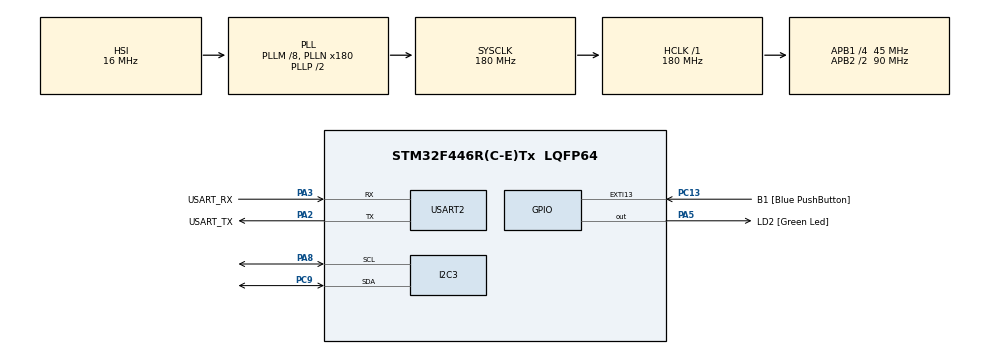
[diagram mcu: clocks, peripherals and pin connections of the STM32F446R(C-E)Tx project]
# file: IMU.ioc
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Mcu.Family=STM32F4
Mcu.Name=STM32F446R(C-E)Tx
Mcu.Package=LQFP64
NVIC.PriorityGroup=NVIC_PRIORITYGROUP_0
PA13.GPIO_Label=TMS
PA13.Mode=Serial_Wire
PA13.Signal=SYS_JTMS-SWDIO
PA14.GPIO_Label=TCK
PA14.Mode=Serial_Wire
PA14.Signal=SYS_JTCK-SWCLK
PA2.GPIO_Label=USART_TX
PA2.Mode=Asynchronous
PA2.Signal=USART2_TX
PA3.GPIO_Label=USART_RX
PA3.Mode=Asynchronous
PA3.Signal=USART2_RX
PA5.GPIO_Label=LD2 [Green Led]
PA5.Signal=GPIO_Output
PA8.Mode=I2C
PA8.Signal=I2C3_SCL
PB3.GPIO_Label=SWO
PB3.Signal=SYS_JTDO-SWO
PC13.GPIO_Label=B1 [Blue PushButton]
PC13.GPIO_ModeDefaultEXTI=GPIO_MODE_IT_FALLING
PC13.Signal=GPXTI13
PC14-OSC32_IN.Mode=LSE-External-Oscillator
PC14-OSC32_IN.Signal=RCC_OSC32_IN
PC15-OSC32_OUT.Mode=LSE-External-Oscillator
PC15-OSC32_OUT.Signal=RCC_OSC32_OUT
PC9.Mode=I2C
PC9.Signal=I2C3_SDA
PH0-OSC_IN.Mode=HSE-External-Oscillator
PH0-OSC_IN.Signal=RCC_OSC_IN
PH1-OSC_OUT.Mode=HSE-External-Oscillator
PH1-OSC_OUT.Signal=RCC_OSC_OUT
ProjectManager.HeapSize=0x200
ProjectManager.StackSize=0x400
ProjectManager.TargetToolchain=STM32CubeIDE
RCC.48MHZClocksFreq_Value=84000000
RCC.AHBFreq_Value=180000000
RCC.APB1CLKDivider=RCC_HCLK_DIV4
RCC.APB1Freq_Value=45000000
RCC.APB1TimFreq_Value=90000000
RCC.APB2CLKDivider=RCC_HCLK_DIV2
RCC.APB2Freq_Value=90000000
RCC.APB2TimFreq_Value=180000000
RCC.CortexFreq_Value=180000000
RCC.FLatency-AdvancedSettings=FLASH_LATENCY_5
RCC.HCLKFreq_Value=180000000
RCC.HSE_VALUE=8000000
RCC.HSI_VALUE=16000000
RCC.PLLM=8
RCC.PLLN=180
RCC.SYSCLKFreq_VALUE=180000000
RCC.SYSCLKSource=RCC_SYSCLKSOURCE_PLLCLK
RCC.USBFreq_Value=180000000
RCC.VCOOutputFreq_Value=360000000
USART2.VirtualMode=VM_ASYNC
board=NUCLEO-F446RE

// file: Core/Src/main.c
/* USER CODE BEGIN Header */
/**
  ******************************************************************************
  * @file           : main.c
  * @brief          : Main program body
  ******************************************************************************
  * @attention
  *
  * Copyright (c) 2023 STMicroelectronics.
  * All rights reserved.
  *
  * This software is licensed under terms that can be found in the LICENSE file
  * in the root directory of this software component.
  * If no LICENSE file comes with this software, it is provided AS-IS.
  *
  ******************************************************************************
  */
/* USER CODE END Header */
#include "main.h"
#include "IMU.h"
#include <string.h>
#include <stdio.h>

I2C_HandleTypeDef hi2c3;

UART_HandleTypeDef huart2;

/* USER CODE BEGIN PV */
// IMU address
uint16_t IMU_address = 214;
uint8_t IMU_Data_Ready;

/* USER CODE END PV */

void SystemClock_Config(void);
static void MX_GPIO_Init(void);
static void MX_USART2_UART_Init(void);
static void MX_I2C3_Init(void);

int main(void)
{
  /* USER CODE BEGIN 1 */
	uint8_t buf[20];
	buf[0] = 1;
	buf[1] = 12;
	uint8_t buff[3];
	uint8_t  OUTX_L_XL;
	uint8_t  OUTX_H_XL;
	uint8_t  OUTY_L_XL;
	uint8_t  OUTY_H_XL;
	uint8_t  OUTZ_L_XL;
	uint8_t  OUTZ_H_XL;

	uint8_t  OUTX_L_G;
	uint8_t  OUTX_H_G;
	uint8_t  OUTY_L_G;
	uint8_t  OUTY_H_G;
	uint8_t  OUTZ_L_G;
	uint8_t  OUTZ_H_G;

	uint8_t IMU_Data_Ready;
	uint8_t XL_Mode = 0x60;
	uint8_t G_Mode =  0xA0;
	uint8_t XL_IT = 0x01;

	uint16_t XL_X;
	uint16_t XL_Y;
	uint16_t XL_Z;

	uint16_t G_X;
	uint16_t G_Y;
	uint16_t G_Z;
  /* USER CODE END 1 */

  /* MCU Configuration--------------------------------------------------------*/

  /* Reset of all peripherals, Initializes the Flash interface and the Systick. */
  HAL_Init();

  /* Configure the system clock */
  SystemClock_Config();

  /* Initialize all configured peripherals */
  MX_GPIO_Init();
  MX_USART2_UART_Init();
  MX_I2C3_Init();

  /* Infinite loop */
  while (1)
  {

    /* USER CODE BEGIN 3 */
	  IMU_init();
//	  HAL_I2C_Mem_Write  ( &hi2c3 ,IMU_address, 0x10, 1, &XL_Mode, 1, 10000); // 0x10 = CTRL1_XL
//	  	  HAL_I2C_Mem_Write  ( &hi2c3 ,IMU_address, 0x0D, 1, &XL_IT, 1, 10000); // INT1_CTRL (0Dh)
//	  	  //HAL_Delay(10);
//	  	  //HAL_I2C_Mem_Read  ( &hi2c3 ,IMU_address, 0x10, 1, buf[1], 1, 10000);
	  	  HAL_I2C_Mem_Read  ( &hi2c3 ,IMU_address, 0x0D, 1, buf, 1, 10000);
	  	  HAL_I2C_Mem_Read  ( &hi2c3 ,IMU_address, 0x1E, 1, &IMU_Data_Ready, 1, 10000); //STATUS_REG (1Eh)

	  	  if((IMU_Data_Ready & 0x01) == 1){
	  		  HAL_I2C_Mem_Read  ( &hi2c3 ,IMU_address, 0x28, 1, &OUTX_L_XL, 1, 10000); // OUTX_L_XL (28h)
	  		  HAL_I2C_Mem_Read  ( &hi2c3 ,IMU_address, 0x29, 1, &OUTX_H_XL, 1, 10000); // OUTX_H_XL (29h)
	  		  HAL_I2C_Mem_Read  ( &hi2c3 ,IMU_address, 0x2A, 1, &OUTY_L_XL, 1, 10000); // OUTY_L_XL (2Ah)
	  		  HAL_I2C_Mem_Read  ( &hi2c3 ,IMU_address, 0x2B, 1, &OUTY_H_XL, 1, 10000); // OUTY_H_XL (2Bh)
	  		  HAL_I2C_Mem_Read  ( &hi2c3 ,IMU_address, 0x2C, 1, &OUTZ_L_XL, 1, 10000); // OUTZ_L_XL (2Ch)
	  		  HAL_I2C_Mem_Read  ( &hi2c3 ,IMU_address, 0x2D, 1, &OUTZ_H_XL, 1, 10000); // OUTZ_H_XL (2Dh)
	  		  XL_X = (OUTX_H_XL << 8) + OUTX_L_XL;
	  		  XL_Y = (OUTY_H_XL << 8) + OUTY_L_XL;
	  		  XL_Z = (OUTZ_H_XL << 8) + OUTZ_L_XL;
	  		  HAL_GPIO_TogglePin(GPIOA, GPIO_PIN_5);
	  		  HAL_Delay(100);
	  		  sprintf((char*)buff, "%d ",OUTX_H_XL);
	  		  HAL_UART_Transmit  ( &huart2, buff, strlen((char*)buff), 10000);
	  		  HAL_Delay(5);
	  		  sprintf((char*)buff, "%d ",OUTX_L_XL);
	  		  HAL_UART_Transmit  ( &huart2, buff, strlen((char*)buff), 10000);
	  		  HAL_Delay(5);
	  	  }

	  	if((IMU_Data_Ready/2) > 0){
	  		  		  HAL_I2C_Mem_Read  ( &hi2c3 ,IMU_address, 0x22, 1, &OUTX_L_G, 1, 10000); // xl
	  		  		  HAL_I2C_Mem_Read  ( &hi2c3 ,IMU_address, 0x23, 1, &OUTX_H_G, 1, 10000); // xh
	  		  		  HAL_I2C_Mem_Read  ( &hi2c3 ,IMU_address, 0x24, 1, &OUTY_L_G, 1, 10000); // yl
	  		  		  HAL_I2C_Mem_Read  ( &hi2c3 ,IMU_address, 0x25, 1, &OUTY_H_G, 1, 10000); // yh
	  		  		  HAL_I2C_Mem_Read  ( &hi2c3 ,IMU_address, 0x26, 1, &OUTZ_L_G, 1, 10000); // zl
	  		  		  HAL_I2C_Mem_Read  ( &hi2c3 ,IMU_address, 0x27, 1, &OUTZ_H_G, 1, 10000); // zh
	  		  		  G_X = ((uint16_t)OUTX_H_G << 8) + OUTX_L_G;
	  		  		  G_Y = ((uint16_t)OUTY_H_G << 8) + OUTY_L_G;
	  		  		  G_Z = ((uint16_t)OUTZ_H_G << 8) + OUTZ_L_G;
	  		  		  HAL_GPIO_TogglePin(GPIOA, GPIO_PIN_5);
	  		  		  HAL_Delay(100);
	  		  		  sprintf((char*)buff, "GZ: %d ",OUTZ_H_G);
	  		  		  HAL_UART_Transmit  ( &huart2, buff, strlen((char*)buff), 10000);
	  		  		  HAL_Delay(5);
	  		  		  sprintf((char*)buff, "%d\n\r",OUTZ_L_G);
	  		  		  HAL_UART_Transmit  ( &huart2, buff, strlen((char*)buff), 10000);
	  		  		  HAL_Delay(5);
	  		  	  }
//	  XL_X = get_ACC_X();
//	  //printf("%d",XL_X);
//	  sprintf((char*)buff, "%d ",XL_X);
//	  HAL_UART_Transmit  ( &huart2, buff, strlen((char*)buff), 10000);
  }
  /* USER CODE END 3 */
}

void SystemClock_Config(void)
{
  RCC_OscInitTypeDef RCC_OscInitStruct = {0};
  RCC_ClkInitTypeDef RCC_ClkInitStruct = {0};

  /** Configure the main internal regulator output voltage
  */
  __HAL_RCC_PWR_CLK_ENABLE();
  __HAL_PWR_VOLTAGESCALING_CONFIG(PWR_REGULATOR_VOLTAGE_SCALE1);

  /** Initializes the RCC Oscillators according to the specified parameters
  * in the RCC_OscInitTypeDef structure.
  */
  RCC_OscInitStruct.OscillatorType = RCC_OSCILLATORTYPE_HSI;
  RCC_OscInitStruct.HSIState = RCC_HSI_ON;
  RCC_OscInitStruct.HSICalibrationValue = RCC_HSICALIBRATION_DEFAULT;
  RCC_OscInitStruct.PLL.PLLState = RCC_PLL_ON;
  RCC_OscInitStruct.PLL.PLLSource = RCC_PLLSOURCE_HSI;
  RCC_OscInitStruct.PLL.PLLM = 8;
  RCC_OscInitStruct.PLL.PLLN = 180;
  RCC_OscInitStruct.PLL.PLLP = RCC_PLLP_DIV2;
  RCC_OscInitStruct.PLL.PLLQ = 2;
  RCC_OscInitStruct.PLL.PLLR = 2;
  if (HAL_RCC_OscConfig(&RCC_OscInitStruct) != HAL_OK)
  {
    Error_Handler();
  }

  /** Activate the Over-Drive mode
  */
  if (HAL_PWREx_EnableOverDrive() != HAL_OK)
  {
    Error_Handler();
  }

  /** Initializes the CPU, AHB and APB buses clocks
  */
  RCC_ClkInitStruct.ClockType = RCC_CLOCKTYPE_HCLK|RCC_CLOCKTYPE_SYSCLK
                              |RCC_CLOCKTYPE_PCLK1|RCC_CLOCKTYPE_PCLK2;
  RCC_ClkInitStruct.SYSCLKSource = RCC_SYSCLKSOURCE_PLLCLK;
  RCC_ClkInitStruct.AHBCLKDivider = RCC_SYSCLK_DIV1;
  RCC_ClkInitStruct.APB1CLKDivider = RCC_HCLK_DIV4;
  RCC_ClkInitStruct.APB2CLKDivider = RCC_HCLK_DIV2;

  if (HAL_RCC_ClockConfig(&RCC_ClkInitStruct, FLASH_LATENCY_5) != HAL_OK)
  {
    Error_Handler();
  }
}

static void MX_I2C3_Init(void)
{

  hi2c3.Instance = I2C3;
  hi2c3.Init.ClockSpeed = 100000;
  hi2c3.Init.DutyCycle = I2C_DUTYCYCLE_2;
  hi2c3.Init.OwnAddress1 = 0;
  hi2c3.Init.AddressingMode = I2C_ADDRESSINGMODE_7BIT;
  hi2c3.Init.DualAddressMode = I2C_DUALADDRESS_DISABLE;
  hi2c3.Init.OwnAddress2 = 0;
  hi2c3.Init.GeneralCallMode = I2C_GENERALCALL_DISABLE;
  hi2c3.Init.NoStretchMode = I2C_NOSTRETCH_DISABLE;
  if (HAL_I2C_Init(&hi2c3) != HAL_OK)
  {
    Error_Handler();
  }

}

static void MX_USART2_UART_Init(void)
{

  huart2.Instance = USART2;
  huart2.Init.BaudRate = 115200;
  huart2.Init.WordLength = UART_WORDLENGTH_8B;
  huart2.Init.StopBits = UART_STOPBITS_1;
  huart2.Init.Parity = UART_PARITY_NONE;
  huart2.Init.Mode = UART_MODE_TX_RX;
  huart2.Init.HwFlowCtl = UART_HWCONTROL_NONE;
  huart2.Init.OverSampling = UART_OVERSAMPLING_16;
  if (HAL_UART_Init(&huart2) != HAL_OK)
  {
    Error_Handler();
  }

}

static void MX_GPIO_Init(void)
{
  GPIO_InitTypeDef GPIO_InitStruct = {0};

  /* GPIO Ports Clock Enable */
  __HAL_RCC_GPIOC_CLK_ENABLE();
  __HAL_RCC_GPIOH_CLK_ENABLE();
  __HAL_RCC_GPIOA_CLK_ENABLE();
  __HAL_RCC_GPIOB_CLK_ENABLE();

  /*Configure GPIO pin Output Level */
  HAL_GPIO_WritePin(LD2_GPIO_Port, LD2_Pin, GPIO_PIN_RESET);

  /*Configure GPIO pin : B1_Pin */
  GPIO_InitStruct.Pin = B1_Pin;
  GPIO_InitStruct.Mode = GPIO_MODE_IT_FALLING;
  GPIO_InitStruct.Pull = GPIO_NOPULL;
  HAL_GPIO_Init(B1_GPIO_Port, &GPIO_InitStruct);

  /*Configure GPIO pin : LD2_Pin */
  GPIO_InitStruct.Pin = LD2_Pin;
  GPIO_InitStruct.Mode = GPIO_MODE_OUTPUT_PP;
  GPIO_InitStruct.Pull = GPIO_NOPULL;
  GPIO_InitStruct.Speed = GPIO_SPEED_FREQ_LOW;
  HAL_GPIO_Init(LD2_GPIO_Port, &GPIO_InitStruct);

}

void Error_Handler(void)
{
  __disable_irq();
  while (1)
  {
  }
}
